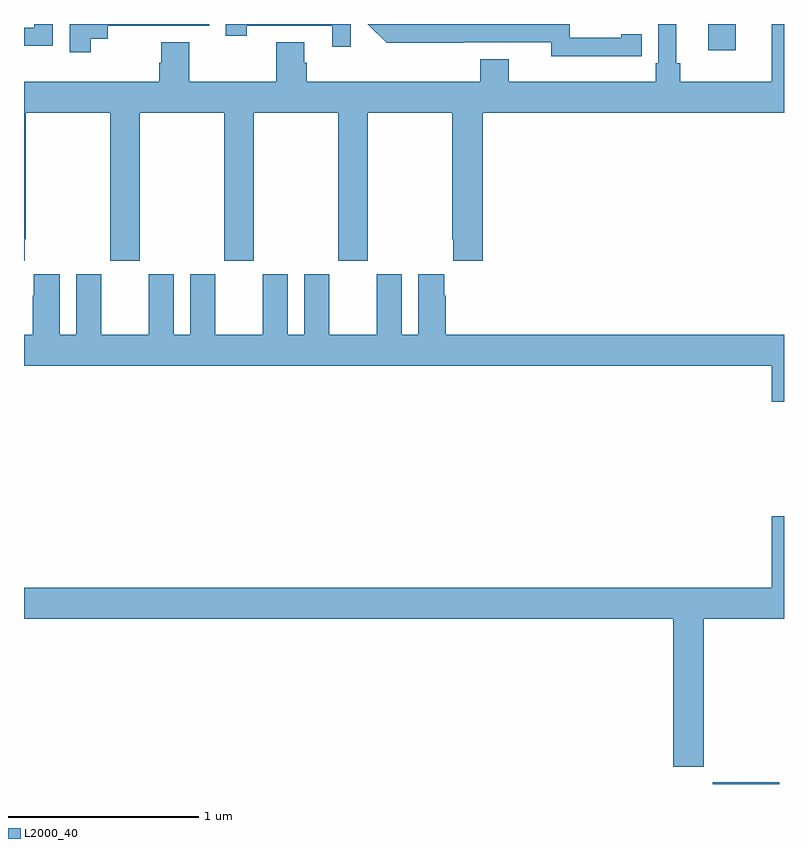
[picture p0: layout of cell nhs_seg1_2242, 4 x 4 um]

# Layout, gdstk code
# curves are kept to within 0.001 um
import gdstk
lib = gdstk.Library(unit=1e-6, precision=1e-09)
def R(c, l, rs):  # rectangles x0, y0, x1, y1
    for r in rs: c.add(gdstk.rectangle(r[:2], r[2:], *l))
def P(c, l, *ps):  # polygons
    for p in ps: c.add(gdstk.Polygon(p, *l))
L2000_40 = (2000, 40)

nhs_seg1_2242 = lib.new_cell('nhs_seg1_2242')
R(nhs_seg1_2242, L2000_40, [(236.624,548.199,236.974,548.209), (236.6,552.06,236.746,552.199)])
P(nhs_seg1_2242, L2000_40, [(233.151,552.199),(233.055,552.199),(233.055,552.18),(233,552.18),(233,552.084),(233.151,552.084)],
  [(233.871,552.104),(233.723,552.104),(233.723,551.994),(233.711,551.994),(233.711,551.896),(233,551.896),(233,550.953),(233.005,550.953),(233.005,551.065),(233.01,551.065),(233.01,551.732),(233.455,551.732),(233.455,550.953),(233.61,550.953),(233.61,551.732),(234.055,551.732),(234.055,550.953),(234.21,550.953),(234.21,551.732),(234.655,551.732),(234.655,550.953),(234.81,550.953),(234.81,551.732),(235.255,551.732),(235.255,551.065),(235.259,551.065),(235.259,550.953),(235.415,550.953),(235.415,551.732),(237,551.732),(237,552.199),(236.936,552.199),(236.936,551.896),(236.453,551.896),(236.453,551.992),(236.434,551.992),(236.434,552.199),(236.337,552.199),(236.337,551.992),(236.324,551.992),(236.324,551.896),(235.552,551.896),(235.552,552.013),(235.4,552.013),(235.4,551.896),(234.488,551.896),(234.488,551.994),(234.475,551.994),(234.475,552.104),(234.328,552.104),(234.328,551.896),(233.871,551.896)],
  [(234.72,552.199),(234.061,552.199),(234.061,552.138),(234.172,552.138),(234.172,552.189),(234.623,552.189),(234.623,552.078),(234.72,552.078)],
  [(236.144,552.03),(236.252,552.03),(236.252,552.146),(236.144,552.146),(236.144,552.126),(235.872,552.126),(235.872,552.198),(234.81,552.199),(234.908,552.101),(235.776,552.102),(235.776,552.029)],
  [(233.35,552.121),(233.442,552.121),(233.442,552.189),(233.976,552.189),(233.976,552.199),(233.241,552.199),(233.241,552.051),(233.35,552.051)],
  [(237,550.564),(235.22,550.564),(235.22,550.769),(235.213,550.769),(235.213,550.882),(235.076,550.882),(235.076,550.564),(234.988,550.564),(234.988,550.882),(234.857,550.882),(234.857,550.564),(234.607,550.564),(234.607,550.882),(234.476,550.882),(234.476,550.564),(234.388,550.564),(234.388,550.882),(234.257,550.882),(234.257,550.564),(234.007,550.564),(234.007,550.882),(233.876,550.882),(233.876,550.564),(233.788,550.564),(233.788,550.882),(233.657,550.882),(233.657,550.564),(233.407,550.564),(233.407,550.882),(233.276,550.882),(233.276,550.564),(233.188,550.564),(233.188,550.882),(233.051,550.882),(233.051,550.769),(233.045,550.769),(233.045,550.564),(233,550.564),(233,550.4),(236.936,550.4),(236.936,550.212),(237,550.212)],
  [(236.577,549.068),(237,549.068),(237,549.607),(236.936,549.607),(236.936,549.232),(233,549.232),(233,549.068),(236.417,549.068),(236.417,548.289),(236.577,548.289)])

lib.write_gds('nhs_seg1_2242.gds')
